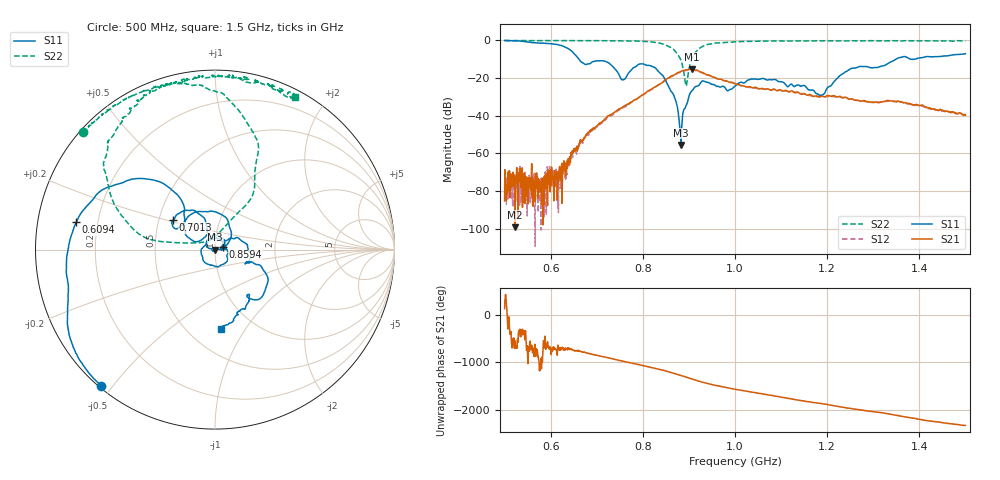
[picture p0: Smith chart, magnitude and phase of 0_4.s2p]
!Agilent Technologies,E8364B,US42250235,A.06.04.32
!Agilent E8364B: A.06.04.32
!Date: Friday, January 15, 2021 15:02:14
!Correction: S11(Full 2 Port(1,2)) S21(Full 2 Port(1,2)) S12(Full 2 Port(1,2)) S22(Full 2 Port(1,2))
!S2P File: Measurements: S11, S21, S12, S22:
# Hz S  dB  R 50
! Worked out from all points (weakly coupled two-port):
!   1601 points, 500 MHz to 1.5 GHz, reference 50 ohm
!   highest |S21| = -15.37 dB at 905.6 MHz (marker M1); lowest = -99.3 dB at 522.5 MHz (marker M2)
!   lowest |S11| = -55.5 dB at 883.1 MHz (marker M3), VSWR 1.00, Z = 50.2 - j0.0553 ohm
!   |S11| at or under -10 dB: 661.2 MHz to 1.349 GHz (688 MHz wide, 68.4 % of centre); 1.381 GHz to 1.389 GHz (8.82 MHz wide, 0.637 % of centre)
!   |S22| runs from -24.3 to -0.1 dB; largest |S21 - S12| = 0.0079
!   S11 on the Smith chart (normalised r, x): 500 MHz: 0.01, -0.47; 609.4 MHz: 0.12, +0.10; 701.2 MHz: 0.59, +0.21; 859.4 MHz: 1.10, +0.03; 1.5 GHz: 0.71, -0.78
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5e8  -0.10 -129.8  -85.21 132.0  -75.71 -101.0  -0.15 138.3
5.225e8  -0.24 -141.2  -99.26 9.0  -72.76 33.6  -0.16 135.7
5.825e8  -1.54 -171.2  -77.42 -156.3  -84.81 121.9  -0.17 130.4
5.975e8  -1.77 178.4  -70.33 12.7  -66.09 25.9  -0.17 129.7
6.09375e8  -2.07 168.8  -77.36 13.5  -77.82 52.4  -0.18 127.1
6.66875e8  -11.53 130.8  -53.03 -56.9  -53.66 -57.3  -0.20 121.5
7.0125e8  -10.90 144.7  -45.29 -134.9  -45.54 -136.7  -0.21 118.3
7.5625e8  -20.94 131.6  -35.42 102.7  -36.07 103.7  -0.32 110.1
7.94375e8  -12.53 129.3  -29.72 24.2  -30.02 23.8  -0.51 101.4
8.3375e8  -16.56 56.8  -23.62 -65.2  -23.85 -66.1  -1.33 86.0
8.59375e8  -26.39 15.1  -19.25 -129.5  -19.69 -130.7  -3.64 69.3
8.83125e8  -55.54 -19.3  -16.42 161.6  -16.71 160.4  -10.98 55.9
8.94375e8  -34.31 170.7  -15.66 125.1  -15.99 124.6  -24.13 125.3
9.05625e8  -26.99 159.4  -15.37 88.4  -15.73 87.7  -10.13 171.6
9.375e8  -22.13 70.5  -18.21 -2.2  -18.26 -2.2  -2.37 144.3
1e9  -24.31 4.6  -23.02 -129.9  -23.04 -131.2  -0.84 121.1
1.06e9  -20.24 -79.1  -25.60 130.9  -25.82 130.9  -0.44 112.2
1.166875e9  -26.37 7.0  -29.46 -46.7  -29.47 -47.3  -0.37 97.8
1.18875e9  -29.08 20.6  -29.59 -73.8  -29.97 -77.5  -0.32 95.1
1.250625e9  -15.10 10.7  -31.15 -173.2  -31.25 -177.5  -0.28 88.7
1.33375e9  -12.07 -19.5  -31.99 68.3  -32.28 65.5  -0.31 79.6
1.5e9  -7.11 -85.8  -39.60 -173.5  -39.72 -174.5  -0.37 62.2
